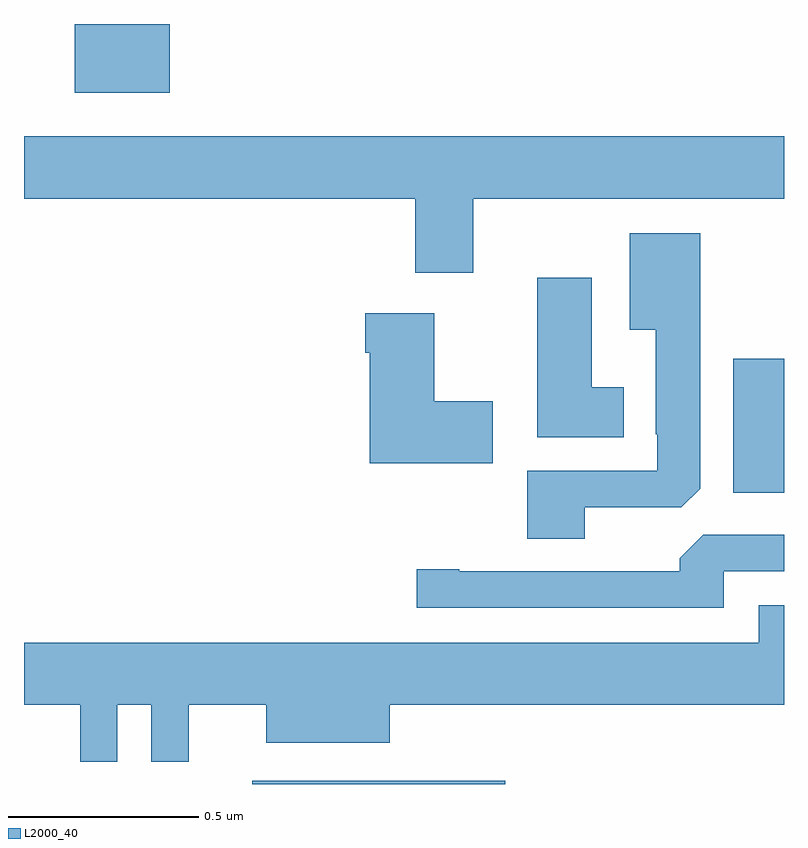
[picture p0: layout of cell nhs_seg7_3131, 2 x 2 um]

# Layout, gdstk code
import gdstk
lib = gdstk.Library(unit=1e-6, precision=1e-09)
def R(c, l, rs):  # rectangles x0, y0, x1, y1
    for r in rs: c.add(gdstk.rectangle(r[:2], r[2:], *l))
def P(c, l, *ps):  # polygons
    for p in ps: c.add(gdstk.Polygon(p, *l))
L2000_40 = (2000, 40)

nhs_seg7_3131 = lib.new_cell('nhs_seg7_3131')
R(nhs_seg7_3131, L2000_40, [(154.601,1075,155.266,1075.009), (155.867,1075.766,156,1076.119), (154.133,1076.819,154.384,1077)])
P(nhs_seg7_3131, L2000_40, [(155.182,1076.54),(156,1076.54),(156,1076.704),(154,1076.704),(154,1076.54),(155.03,1076.54),(155.03,1076.346),(155.182,1076.346)],
  [(155.476,1075.728),(155.73,1075.728),(155.779,1075.777),(155.779,1076.449),(155.594,1076.449),(155.594,1076.195),(155.663,1076.195),(155.663,1075.921),(155.667,1075.921),(155.667,1075.824),(155.324,1075.824),(155.324,1075.645),(155.476,1075.645)],
  [(155.578,1076.044),(155.494,1076.044),(155.494,1076.332),(155.351,1076.332),(155.351,1075.913),(155.578,1075.913)],
  [(155.233,1076.007),(155.08,1076.007),(155.08,1076.239),(154.898,1076.239),(154.898,1076.135),(154.91,1076.135),(154.91,1075.844),(155.233,1075.844)],
  [(155.841,1075.56),(156,1075.56),(156,1075.656),(155.787,1075.656),(155.726,1075.594),(155.726,1075.56),(155.146,1075.56),(155.146,1075.565),(155.034,1075.565),(155.034,1075.464),(155.841,1075.464)],
  [(154.245,1075.208),(154.335,1075.208),(154.335,1075.059),(154.433,1075.059),(154.433,1075.208),(154.637,1075.208),(154.637,1075.109),(154.963,1075.109),(154.963,1075.208),(156,1075.208),(156,1075.471),(155.933,1075.471),(155.933,1075.372),(154,1075.372),(154,1075.208),(154.148,1075.208),(154.148,1075.059),(154.245,1075.059)])

lib.write_gds('nhs_seg7_3131.gds')
